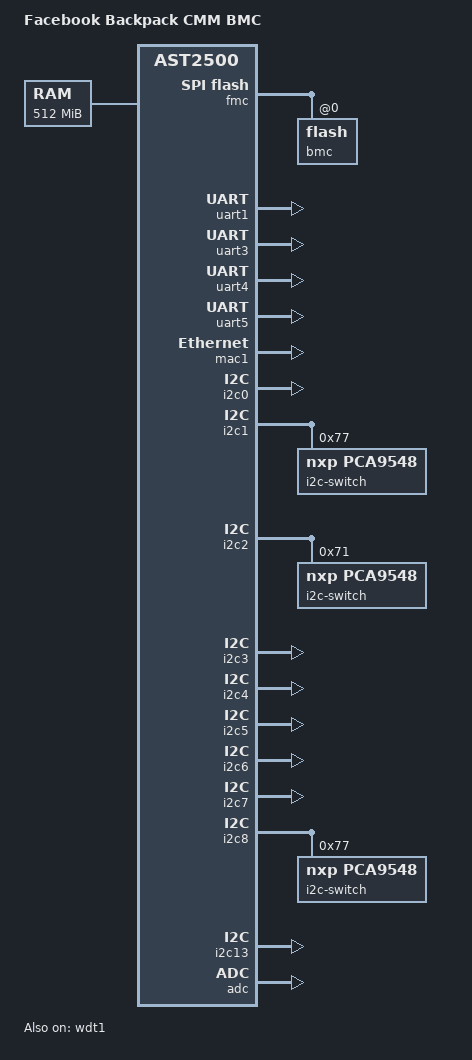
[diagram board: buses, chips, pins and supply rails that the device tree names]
// SPDX-License-Identifier: GPL-2.0+
/dts-v1/;

#include "aspeed-g5.dtsi"

/ {
	model = "Facebook Backpack CMM BMC";
	compatible = "facebook,cmm-bmc", "aspeed,ast2500";

	aliases {
		/*
		 * Override the default serial aliases to avoid breaking
		 * the legacy applications.
		 */
		serial0 = &uart5;
		serial1 = &uart1;
		serial2 = &uart3;
		serial3 = &uart4;

		/*
		 * Hardcode the bus number of i2c switches' channels to
		 * avoid breaking the legacy applications.
		 */
		i2c16 = &imux16;
		i2c17 = &imux17;
		i2c18 = &imux18;
		i2c19 = &imux19;
		i2c20 = &imux20;
		i2c21 = &imux21;
		i2c22 = &imux22;
		i2c23 = &imux23;
		i2c24 = &imux24;
		i2c25 = &imux25;
		i2c26 = &imux26;
		i2c27 = &imux27;
		i2c28 = &imux28;
		i2c29 = &imux29;
		i2c30 = &imux30;
		i2c31 = &imux31;
		i2c32 = &imux32;
		i2c33 = &imux33;
		i2c34 = &imux34;
		i2c35 = &imux35;
		i2c36 = &imux36;
		i2c37 = &imux37;
		i2c38 = &imux38;
		i2c39 = &imux39;
	};

	chosen {
		stdout-path = &uart1;
		bootargs = "console=ttyS1,9600n8 root=/dev/ram rw earlyprintk";
	};

	memory@80000000 {
		device_type = "memory";
		reg = <0x80000000 0x20000000>;
	};
};

/*
 * Update reset type to "system" (full chip) to fix warm reboot hang issue
 * when reset type is set to default ("soc", gated by reset mask registers).
 */
&wdt1 {
	status = "okay";
	aspeed,reset-type = "system";
};

/*
 * wdt2 is not used by Backpack CMM.
 */
&wdt2 {
	status = "disabled";
};

&fmc {
	status = "okay";
	flash@0 {
		status = "okay";
		m25p,fast-read;
		label = "bmc";
#include "fb-bmc-flash-layout.dtsi"
	};
};

&uart1 {
	status = "okay";
};

&uart3 {
	status = "okay";
};

&uart4 {
	status = "okay";
};

&uart5 {
	status = "okay";
};

&mac1 {
	status = "okay";
	no-hw-checksum;
	pinctrl-names = "default";
	pinctrl-0 = <&pinctrl_rgmii2_default &pinctrl_mdio2_default>;
};

&i2c0 {
	status = "okay";
	base-clock-divisor = <4>;
	clock-low-width = <7>;
	clock-high-width = <7>;
};

&i2c1 {
	status = "okay";
	base-clock-divisor = <4>;
	clock-low-width = <7>;
	clock-high-width = <7>;

	i2c-switch@77 {
		compatible = "nxp,pca9548";
		#address-cells = <1>;
		#size-cells = <0>;
		reg = <0x77>;

		imux16: i2c@0 {
			#address-cells = <1>;
			#size-cells = <0>;
			reg = <0>;
		};

		imux17: i2c@1 {
			#address-cells = <1>;
			#size-cells = <0>;
			reg = <1>;
		};

		imux18: i2c@2 {
			#address-cells = <1>;
			#size-cells = <0>;
			reg = <2>;
		};

		imux19: i2c@3 {
			#address-cells = <1>;
			#size-cells = <0>;
			reg = <3>;
		};

		imux20: i2c@4 {
			#address-cells = <1>;
			#size-cells = <0>;
			reg = <4>;
		};

		imux21: i2c@5 {
			#address-cells = <1>;
			#size-cells = <0>;
			reg = <5>;
		};

		imux22: i2c@6 {
			#address-cells = <1>;
			#size-cells = <0>;
			reg = <6>;
		};

		imux23: i2c@7 {
			#address-cells = <1>;
			#size-cells = <0>;
			reg = <7>;
		};
	};
};

&i2c2 {
	status = "okay";
	base-clock-divisor = <4>;
	clock-low-width = <7>;
	clock-high-width = <7>;

	i2c-switch@71 {
		compatible = "nxp,pca9548";
		#address-cells = <1>;
		#size-cells = <0>;
		reg = <0x71>;

		imux24: i2c@0 {
			#address-cells = <1>;
			#size-cells = <0>;
			reg = <0>;
		};

		imux25: i2c@1 {
			#address-cells = <1>;
			#size-cells = <0>;
			reg = <1>;
		};

		imux26: i2c@2 {
			#address-cells = <1>;
			#size-cells = <0>;
			reg = <2>;
		};

		imux27: i2c@3 {
			#address-cells = <1>;
			#size-cells = <0>;
			reg = <3>;
		};

		imux28: i2c@4 {
			#address-cells = <1>;
			#size-cells = <0>;
			reg = <4>;
		};

		imux29: i2c@5 {
			#address-cells = <1>;
			#size-cells = <0>;
			reg = <5>;
		};

		imux30: i2c@6 {
			#address-cells = <1>;
			#size-cells = <0>;
			reg = <6>;
		};

		imux31: i2c@7 {
			#address-cells = <1>;
			#size-cells = <0>;
			reg = <7>;
		};
	};
};

&i2c3 {
	status = "okay";
	base-clock-divisor = <4>;
	clock-low-width = <7>;
	clock-high-width = <7>;
};

&i2c4 {
	status = "okay";
	base-clock-divisor = <4>;
	clock-low-width = <7>;
	clock-high-width = <7>;
};

&i2c5 {
	status = "okay";
	base-clock-divisor = <4>;
	clock-low-width = <7>;
	clock-high-width = <7>;
};

&i2c6 {
	status = "okay";
	base-clock-divisor = <4>;
	clock-low-width = <7>;
	clock-high-width = <7>;
};

&i2c7 {
	status = "okay";
	base-clock-divisor = <4>;
	clock-low-width = <7>;
	clock-high-width = <7>;
};

&i2c8 {
	status = "okay";
	base-clock-divisor = <4>;
	clock-low-width = <7>;
	clock-high-width = <7>;

	i2c-switch@77 {
		compatible = "nxp,pca9548";
		#address-cells = <1>;
		#size-cells = <0>;
		reg = <0x77>;

		imux32: i2c@0 {
			#address-cells = <1>;
			#size-cells = <0>;
			reg = <0>;
		};

		imux33: i2c@1 {
			#address-cells = <1>;
			#size-cells = <0>;
			reg = <1>;
		};

		imux34: i2c@2 {
			#address-cells = <1>;
			#size-cells = <0>;
			reg = <2>;
		};

		imux35: i2c@3 {
			#address-cells = <1>;
			#size-cells = <0>;
			reg = <3>;
		};

		imux36: i2c@4 {
			#address-cells = <1>;
			#size-cells = <0>;
			reg = <4>;
		};

		imux37: i2c@5 {
			#address-cells = <1>;
			#size-cells = <0>;
			reg = <5>;
		};

		imux38: i2c@6 {
			#address-cells = <1>;
			#size-cells = <0>;
			reg = <6>;
		};

		imux39: i2c@7 {
			#address-cells = <1>;
			#size-cells = <0>;
			reg = <7>;
		};
	};
};

&i2c13 {
	status = "okay";
	base-clock-divisor = <4>;
	clock-low-width = <7>;
	clock-high-width = <7>;
};

&adc {
	status = "okay";
};
